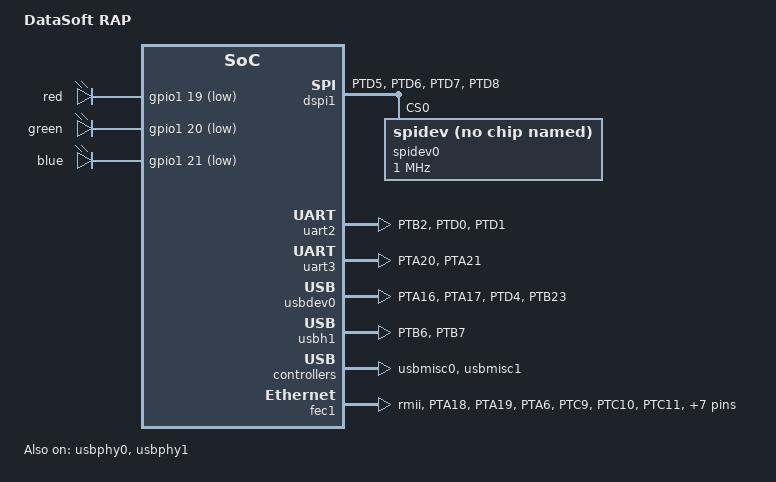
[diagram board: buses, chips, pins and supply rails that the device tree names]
/*
 * Copyright 2015 DataSoft Corporation
 *
 * This program is free software; you can redistribute it and/or modify
 * it under the terms of the GNU General Public License as published by
 * the Free Software Foundation; either version 2 of the License, or
 * (at your option) any later version.
 */

/dts-v1/;
#include "dsvsom-1190.dtsi"

/ {
	model = "DataSoft RAP";

	chosen {
		bootargs = "console=ttyLP2,115200";
	};

	aliases {
		ethernet1 = &fec1;
	};

	rfmute {
		compatible = "gpio-leds";
		pinctrl-names = "default";
		pinctrl-0 = <&pinctrl_rfmute>;
		red {
			gpios = <&gpio1 19 GPIO_ACTIVE_LOW>;
			default-state = "on";
		};
		green {
			gpios = <&gpio1 20 GPIO_ACTIVE_LOW>;
			default-state = "on";
		};
		blue {
			gpios = <&gpio1 21 GPIO_ACTIVE_LOW>;
			default-state = "off";
		};
	};
};

&iomuxc {
	dsvsom-1189 {

		pinctrl_rfmute: rfmutegrp {
			fsl,pins = <
				VF610_PAD_PTA12__GPIO_5			0x03ad	/* GPIO_PB_RF_MUTEN */
				VF610_PAD_PTC6__GPIO_51			0x0182	/* GPIO_RF_MUTE_STAT_RED_LEDN */
				VF610_PAD_PTC7__GPIO_52			0x0182	/* GPIO_RF_MUTE_STAT_GRN_LEDN */
				VF610_PAD_PTC8__GPIO_53			0x0182	/* GPIO_RF_MUTE_STAT_BLU_LEDN */
			>;
		};

		pinctrl_fec1: fec1grp {
			fsl,pins = <
				VF610_PAD_PTA18__GPIO_8			0x0182	/* GPIO_ENET1_NRESET */
				VF610_PAD_PTA19__GPIO_9			0x01ad	/* GPIO_ENET1_NIRQ_OUT */
				VF610_PAD_PTA6__RMII_CLKIN		0x30df
				VF610_PAD_PTC9__ENET_RMII1_MDC		0x30df
				VF610_PAD_PTC10__ENET_RMII1_MDIO	0x30df
				VF610_PAD_PTC11__ENET_RMII1_CRS		0x30df
				VF610_PAD_PTC12__ENET_RMII1_RXD1	0x30df
				VF610_PAD_PTC13__ENET_RMII1_RXD0	0x30df
				VF610_PAD_PTC14__ENET_RMII1_RXER	0x30df
				VF610_PAD_PTC15__ENET_RMII1_TXD1	0x30df
				VF610_PAD_PTC16__ENET_RMII1_TXD0	0x30df
				VF610_PAD_PTC17__ENET_RMII1_TXEN	0x30df
			>;
		};

		pinctrl_cpld: cpldgrp {
			fsl,pins = <
				VF610_PAD_PTB14__GPIO_36		0x01ad	/* GPIO_MCU_CPLD_SP0 */
				VF610_PAD_PTB15__GPIO_37		0x01ad	/* GPIO_MCU_CPLD_SP1 */
				VF610_PAD_PTB16__GPIO_38		0x01ad	/* GPIO_MCU_CPLD_SP2 */
				VF610_PAD_PTB17__GPIO_39		0x01ad	/* GPIO_MCU_CPLD_SP3 */
				VF610_PAD_PTC29__GPIO_102		0x0182	/* GPIO_MCU_ZEROIZE */
				VF610_PAD_PTC30__GPIO_103		0x0182	/* GPIO_RAP_ACTIVE */
				VF610_PAD_PTC31__GPIO_104		0x0182	/* GPIO_MCU_CPLD_INITN */
				VF610_PAD_PTA7__GPIO_134		0x01ad	/* GPIO_SRAM_STATUS */
			>;
		};

		pinctrl_usb0: usb0grp {
			fsl,pins = <
				VF610_PAD_PTA16__GPIO_6			0x0182
				VF610_PAD_PTA17__GPIO_7			0x0181
				VF610_PAD_PTD4__GPIO_83			0x0182	/* GPIO_USB0_VBUS_DETCET */
				VF610_PAD_PTB23__GPIO_93		0x01ad	/* GPIO_CONN_USB0_ID */
			>;
		};

		pinctrl_usb1: usb1grp {
			fsl,pins = <
				VF610_PAD_PTB6__GPIO_28			0x0182	/* GPIO_USB1_VBUS_DETCET */
				VF610_PAD_PTB7__GPIO_29			0x01ad	/* GPIO_CONN_USB1_ID */
			>;
		};

		pinctrl_uart2: uart2grp {
			fsl,pins = <
				VF610_PAD_PTB2__GPIO_24			0x0182	/* GPIO_RX232_EN */
				VF610_PAD_PTD0__UART2_TX		0x2182
				VF610_PAD_PTD1__UART2_RX		0x21ad
			>;
		};

		pinctrl_uart3: uart3grp {
			fsl,pins = <
				VF610_PAD_PTA20__UART3_TX		0x2182
				VF610_PAD_PTA21__UART3_RX		0x21ad
			>;
		};

		pinctrl_spi1: spi1grp {
			fsl,pins = <
				VF610_PAD_PTD5__DSPI1_CS0		0x2182
				VF610_PAD_PTD6__DSPI1_SIN		0x21ad
				VF610_PAD_PTD7__DSPI1_SOUT		0x2182
				VF610_PAD_PTD8__DSPI1_SCK		0x2182
			>;
		};
	};
};

&dspi1 {
	bus-num = <1>;
	pinctrl-names = "default";
	pinctrl-0 = <&pinctrl_spi1>;
	status = "okay";

	spidev0: spi@0 {
		compatible = "spidev";
		pinctrl-names = "default";
		pinctrl-0 = <&pinctrl_cpld>;
		spi-max-frequency = <1000000>;
		reg = <0>;
	};
};

&uart2 {
	pinctrl-names = "default";
	pinctrl-0 = <&pinctrl_uart2>;
	status = "okay";
};

&uart3 {
	pinctrl-names = "default";
	pinctrl-0 = <&pinctrl_uart3>;
	status = "okay";
};

&usbdev0 {
	disable-over-current;
	pinctrl-names = "default";
	pinctrl-0 = <&pinctrl_usb0>;
	status = "okay";
};

&usbh1 {
	disable-over-current;
	pinctrl-names = "default";
	pinctrl-0 = <&pinctrl_usb1>;
	status = "okay";
};

&usbmisc0 {
	status = "okay";
};

&usbmisc1 {
	status = "okay";
};

&usbphy0 {
	status = "okay";
};

&usbphy1 {
	status = "okay";
};

&fec1 {
	phy-mode = "rmii";
	pinctrl-names = "default";
	pinctrl-0 = <&pinctrl_fec1>;
	phy-reset-duration = <10>;
	phy-reset-gpios = <&gpio0 8 0>;
	status = "okay";
};

